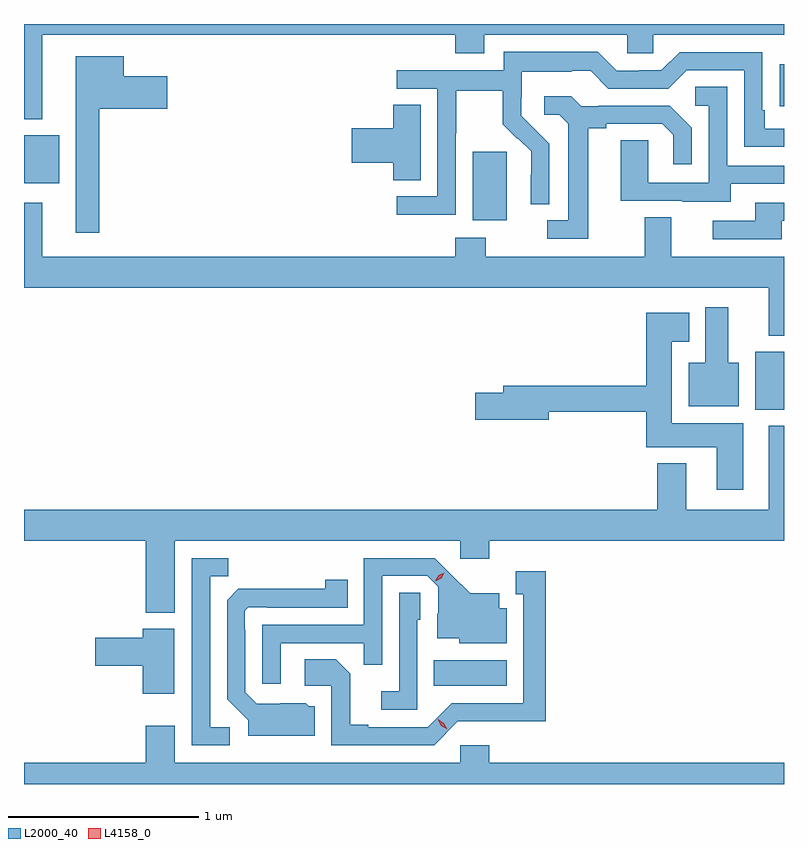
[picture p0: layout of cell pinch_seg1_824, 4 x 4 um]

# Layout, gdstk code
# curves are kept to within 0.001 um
import gdstk
lib = gdstk.Library(unit=1e-6, precision=1e-09)
def R(c, l, rs):  # rectangles x0, y0, x1, y1
    for r in rs: c.add(gdstk.rectangle(r[:2], r[2:], *l))
def P(c, l, *ps):  # polygons
    for p in ps: c.add(gdstk.Polygon(p, *l))
L2000_40 = (2000, 40)
L4158_0 = (4158, 0)

pinch_seg1_824 = lib.new_cell('pinch_seg1_824')
R(pinch_seg1_824, L2000_40, [(470.59,572.282,470.974,572.416), (472.283,573.734,472.434,574.039), (470.795,574.73,470.974,575.091), (468.434,574.925,468.619,575.179), (472.411,575.332,472.434,575.551)])
P(pinch_seg1_824, L2000_40, [(468.529,575.708),(470.705,575.708),(470.705,575.609),(470.857,575.609),(470.857,575.708),(471.609,575.708),(471.609,575.61),(471.747,575.61),(471.747,575.708),(472.434,575.708),(472.434,575.764),(468.434,575.764),(468.434,575.264),(468.529,575.264)],
  [(470.706,575.188),(470.709,575.188),(470.709,575.412),(470.953,575.412),(470.953,575.237),(471.03,575.16),(471.033,575.163),(471.104,575.093),(471.104,574.97),(471.102,574.97),(471.102,574.816),(471.198,574.816),(471.198,575.134),(471.052,575.282),(471.052,575.379),(471.054,575.379),(471.054,575.513),(471.317,575.513),(471.317,575.517),(471.417,575.517),(471.51,575.424),(471.825,575.424),(471.921,575.52),(472.224,575.52),(472.224,575.118),(472.434,575.118),(472.434,575.214),(472.333,575.214),(472.333,575.311),(472.32,575.311),(472.32,575.616),(471.885,575.616),(471.789,575.52),(471.671,575.52),(471.671,575.517),(471.555,575.517),(471.455,575.617),(470.958,575.617),(470.958,575.52),(470.397,575.52),(470.397,575.424),(470.61,575.424),(470.61,574.857),(470.397,574.857),(470.397,574.759),(470.706,574.759)],
  [(468.829,575.318),(469.189,575.318),(469.189,575.488),(468.958,575.488),(468.958,575.593),(468.707,575.593),(468.707,574.665),(468.829,574.665)],
  [(472.153,574.923),(472.434,574.923),(472.434,575.019),(472.134,575.019),(472.134,575.435),(471.966,575.435),(471.966,575.334),(472.038,575.334),(472.038,574.929),(471.72,574.929),(471.72,575.153),(471.575,575.153),(471.575,574.833),(471.899,574.833),(471.899,574.829),(472.153,574.829)],
  [(471.403,575.216),(471.499,575.216),(471.499,575.238),(471.794,575.238),(471.851,575.181),(471.851,575.025),(471.948,575.025),(471.948,575.218),(471.832,575.334),(471.46,575.334),(471.46,575.331),(471.366,575.331),(471.314,575.383),(471.171,575.383),(471.171,575.286),(471.252,575.286),(471.299,575.239),(471.299,574.731),(471.189,574.731),(471.189,574.635),(471.403,574.635)],
  [(470.521,575.339),(470.378,575.339),(470.378,575.216),(470.16,575.216),(470.16,575.033),(470.378,575.033),(470.378,574.942),(470.521,574.942)],
  [(472.423,574.728),(472.434,574.728),(472.434,574.824),(472.283,574.824),(472.283,574.728),(472.059,574.728),(472.059,574.632),(472.423,574.632)],
  [(471.701,574.748),(471.701,574.54),(470.865,574.54),(470.865,574.639),(470.705,574.639),(470.705,574.54),(468.529,574.54),(468.529,574.822),(468.434,574.822),(468.434,574.376),(472.355,574.376),(472.355,574.124),(472.434,574.124),(472.434,574.54),(471.841,574.54),(471.841,574.748)],
  [(472.195,573.982),(472.141,573.982),(472.141,574.273),(472.019,574.273),(472.019,573.982),(471.932,573.982),(471.932,573.752),(472.195,573.752)],
  [(472.219,573.664),(471.844,573.664),(471.844,574.091),(471.934,574.091),(471.934,574.243),(471.71,574.243),(471.71,573.86),(470.957,573.86),(470.957,573.824),(470.808,573.824),(470.808,573.682),(471.196,573.682),(471.196,573.724),(471.71,573.724),(471.71,573.536),(472.079,573.536),(472.079,573.312),(472.219,573.312)],
  [(472.434,573.649),(472.355,573.649),(472.355,573.208),(471.919,573.208),(471.919,573.451),(471.767,573.451),(471.767,573.208),(468.434,573.208),(468.434,573.044),(469.076,573.044),(469.076,572.666),(469.228,572.666),(469.228,573.044),(470.73,573.044),(470.73,572.949),(470.882,572.949),(470.882,573.044),(472.434,573.044)],
  [(469.516,572.064),(469.413,572.064),(469.413,572.857),(469.509,572.857),(469.509,572.952),(469.317,572.952),(469.317,571.968),(469.516,571.968)],
  [(469.785,572.505),(470.221,572.505),(470.221,572.392),(470.319,572.392),(470.319,572.859),(470.556,572.859),(470.613,572.802),(470.613,572.66),(470.609,572.66),(470.609,572.531),(470.724,572.531),(470.724,572.504),(470.974,572.504),(470.974,572.688),(470.935,572.688),(470.935,572.767),(470.783,572.767),(470.596,572.952),(470.223,572.952),(470.223,572.601),(469.689,572.601),(469.689,572.292),(469.785,572.292)],
  [(470.718,572.094),(471.181,572.093),(471.181,572.884),(471.023,572.884),(471.023,572.763),(471.062,572.763),(471.062,572.19),(470.685,572.19),(470.559,572.064),(470.245,572.064),(470.245,572.077),(470.151,572.077),(470.151,572.344),(470.075,572.42),(469.911,572.42),(469.911,572.28),(470.052,572.28),(470.052,571.968),(470.592,571.968)],
  [(469.963,572.172),(469.932,572.172),(469.916,572.188),(469.659,572.187),(469.599,572.247),(469.599,572.576),(469.596,572.576),(469.596,572.676),(469.614,572.694),(469.714,572.694),(469.714,572.691),(470.138,572.691),(470.138,572.839),(470.02,572.839),(470.02,572.792),(469.562,572.791),(469.503,572.732),(469.503,572.21),(469.613,572.1),(469.613,572.018),(469.963,572.018)],
  [(470.505,572.628),(470.52,572.628),(470.52,572.771),(470.409,572.771),(470.409,572.251),(470.313,572.251),(470.313,572.154),(470.505,572.154)],
  [(469.225,572.581),(469.058,572.581),(469.058,572.534),(468.81,572.534),(468.81,572.387),(469.058,572.387),(469.058,572.238),(469.225,572.238)],
  [(472.434,571.876),(470.882,571.876),(470.882,571.969),(470.73,571.969),(470.73,571.876),(469.228,571.876),(469.228,572.071),(469.076,572.071),(469.076,571.876),(468.434,571.876),(468.434,571.764),(472.434,571.764)])
P(pinch_seg1_824, L4158_0, [(470.662,572.053),(470.63,572.071),(470.612,572.104),(470.612,572.104),(470.613,572.104),(470.644,572.085),(470.662,572.053),(470.662,572.053)],
  [(470.599,572.832),(470.599,572.833),(470.616,572.862),(470.647,572.877),(470.647,572.877),(470.647,572.877),(470.63,572.847),(470.599,572.832)])

lib.write_gds('pinch_seg1_824.gds')
